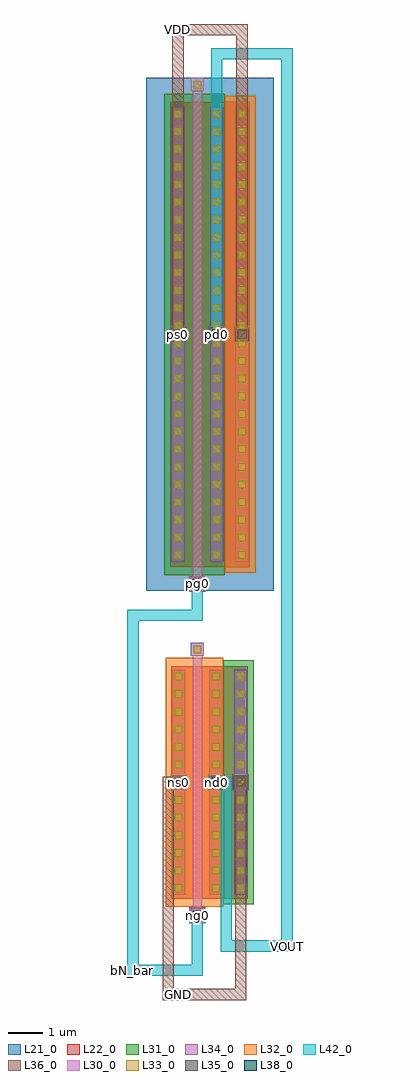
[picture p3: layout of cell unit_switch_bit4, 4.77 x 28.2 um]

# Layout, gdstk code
import gdstk
lib = gdstk.Library(unit=1e-6, precision=1e-09)
def R(c, l, rs):  # rectangles x0, y0, x1, y1
    for r in rs: c.add(gdstk.rectangle(r[:2], r[2:], *l))
def A(c, l, x, y, w, h, nx, ny, dx, dy):  # array of equal rectangles
    R(c, l, [(x+i*dx, y+j*dy, x+i*dx+w, y+j*dy+h) for i in range(nx) for j in range(ny)])
L21_0 = (21, 0)
L22_0 = (22, 0)
L30_0 = (30, 0)
L31_0 = (31, 0)
L32_0 = (32, 0)
L33_0 = (33, 0)
L34_0 = (34, 0)
L35_0 = (35, 0)
L36_0 = (36, 0)
L38_0 = (38, 0)
L42_0 = (42, 0)

unit_switch_bit4 = lib.new_cell('unit_switch_bit4')
R(unit_switch_bit4, L21_0, [(-1.15,-0.69,2.54,14.13)])
R(unit_switch_bit4, L22_0, [(-0.42,-9.58,0,-2.86), (0,-9.58,0.66,-2.86), (0.66,-9.58,1.08,-2.86), (1.08,-9.58,1.79,-2.86), (-0.46,0,0,13.44), (0,0,0.66,13.44), (0.66,0,1.12,13.44), (1.12,0,1.85,13.44)])
R(unit_switch_bit4, L30_0, [(0.15,-10.24,0.51,-9.88), (0.19,-9.88,0.47,-2.56), (0.15,-2.56,0.51,-2.2), (0.14,-0.68,0.52,-0.3), (0.19,-0.3,0.47,13.74), (0.14,13.74,0.52,14.12)])
R(unit_switch_bit4, L31_0, [(1.08,-9.75,1.96,-2.69), (-0.63,-0.24,1.12,13.68)])
R(unit_switch_bit4, L32_0, [(-0.59,-9.82,1.08,-2.62), (1.12,-0.17,2.02,13.61)])
A(unit_switch_bit4, L33_0, -0.32, -9.39, 0.22, 0.22, 1, 13, 0, 0.51)
A(unit_switch_bit4, L33_0, 0.76, -9.39, 0.22, 0.22, 1, 13, 0, 0.51)
A(unit_switch_bit4, L33_0, 1.47, -9.39, 0.22, 0.22, 1, 13, 0, 0.51)
A(unit_switch_bit4, L33_0, -0.34, 0.235, 0.22, 0.22, 1, 26, 0, 0.51)
A(unit_switch_bit4, L33_0, 0.78, 0.235, 0.22, 0.22, 1, 26, 0, 0.51)
A(unit_switch_bit4, L33_0, 1.51, 0.235, 0.22, 0.22, 1, 26, 0, 0.51)
R(unit_switch_bit4, L33_0, [(0.22,-10.17,0.44,-9.95), (0.22,-2.49,0.44,-2.27), (0.22,-0.6,0.44,-0.38), (0.22,13.82,0.44,14.04)])
R(unit_switch_bit4, L34_0, [(0.1,-10.29,0.56,-9.83), (0.14,-10.25,0.52,-9.87), (-0.4,-9.47,-0.02,-2.97), (0.68,-9.47,1.06,-2.97), (1.39,-9.47,1.77,-2.97), (-0.44,-6.45,0.02,-5.99), (0.64,-6.45,1.1,-5.99), (1.35,-6.45,1.81,-5.99), (0.14,-2.57,0.52,-2.19), (0.1,-0.72,0.56,-0.26), (0.14,-0.68,0.52,-0.3), (-0.42,0.155,-0.04,13.285), (0.7,0.155,1.08,13.285), (1.43,0.155,1.81,13.285), (-0.46,6.49,0,6.95), (0.66,6.49,1.12,6.95), (1.39,6.49,1.85,6.95), (0.14,13.74,0.52,14.12)])
R(unit_switch_bit4, L35_0, [(0.2,-10.19,0.46,-9.93), (-0.34,-6.35,-0.08,-6.09), (0.74,-6.35,1,-6.09), (1.45,-6.35,1.71,-6.09), (0.2,-0.62,0.46,-0.36), (-0.36,6.59,-0.1,6.85), (0.76,6.59,1.02,6.85), (1.49,6.59,1.75,6.85)])
R(unit_switch_bit4, L36_0, [(-0.67,-12.51,-0.05,-12.19), (-0.67,-12.51,-0.35,-6.06), (-0.37,-12.51,1.74,-12.19), (1.42,-12.51,1.74,-6.06), (0.135,-10.255,0.525,-9.865), (-0.405,-6.415,-0.015,-6.025), (0.675,-6.415,1.065,-6.025), (1.385,-6.415,1.775,-6.025), (-0.67,-6.38,-0.05,-6.06), (0.135,-0.685,0.525,-0.295), (-0.425,6.525,-0.035,6.915), (0.695,6.525,1.085,6.915), (1.425,6.525,1.815,6.915), (-0.39,6.56,-0.07,15.69), (1.46,6.56,1.78,15.69), (-0.39,15.37,-0.07,15.69), (-0.39,15.37,1.78,15.69)])
R(unit_switch_bit4, L38_0, [(0.2,-10.19,0.46,-9.93), (0.74,-6.35,1,-6.09), (0.2,-0.62,0.46,-0.36), (0.76,6.59,1.02,6.85)])
R(unit_switch_bit4, L42_0, [(-1.69,-11.81,0.49,-11.49), (-1.69,-11.81,-1.37,-1.23), (0.17,-11.81,0.49,-9.9), (1.01,-11.11,1.33,-6.06), (1.01,-11.11,3.08,-10.79), (2.76,-11.11,3.08,14.99), (0.135,-10.255,0.525,-9.865), (0.675,-6.415,1.065,-6.025), (0.71,-6.38,1.33,-6.06), (-1.69,-1.55,0.49,-1.23), (0.17,-1.55,0.49,-0.33), (0.135,-0.685,0.525,-0.295), (0.695,6.525,1.085,6.915), (0.73,6.56,1.05,14.99), (0.73,14.67,3.08,14.99)])
unit_switch_bit4.add(gdstk.Label('ps0', (-0.23,6.72), layer=34, texttype=10))
unit_switch_bit4.add(gdstk.Label('pd0', (0.89,6.72), layer=34, texttype=10))
unit_switch_bit4.add(gdstk.Label('pg0', (0.33,-0.49), layer=34, texttype=10))
unit_switch_bit4.add(gdstk.Label('pvdd0', (1.62,6.72), layer=34, texttype=10))
unit_switch_bit4.add(gdstk.Label('ns0', (-0.21,-6.221), layer=34, texttype=10))
unit_switch_bit4.add(gdstk.Label('nd0', (0.87,-6.221), layer=34, texttype=10))
unit_switch_bit4.add(gdstk.Label('ng0', (0.33,-10.061), layer=34, texttype=10))
unit_switch_bit4.add(gdstk.Label('ngnd0', (1.58,-6.221), layer=34, texttype=10))
unit_switch_bit4.add(gdstk.Label('VDD', (-0.23,15.53), layer=34, texttype=10))
unit_switch_bit4.add(gdstk.Label('GND', (-0.21,-12.352), layer=34, texttype=10))
unit_switch_bit4.add(gdstk.Label('VOUT', (2.92,-10.952), layer=34, texttype=10))
unit_switch_bit4.add(gdstk.Label('bN_bar', (-1.53,-11.652), layer=34, texttype=10))

lib.write_gds('unit_switch_bit4.gds')
